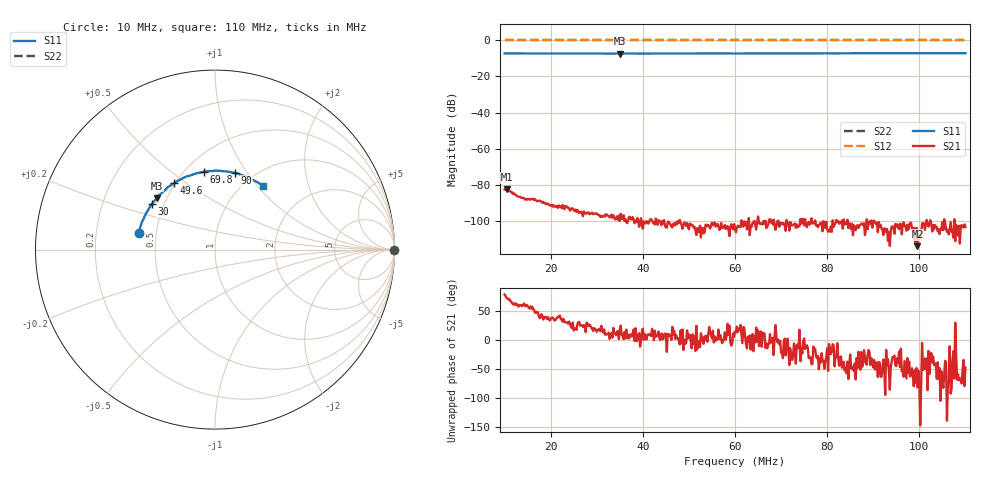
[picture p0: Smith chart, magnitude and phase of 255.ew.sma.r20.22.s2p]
! Anritsu VNA Master:  Model: MS2036C/10/77
! SN:  1601066
! /card0/usr/255.ew.sma.r20.22.s2p
! Existing Calibration Information:
! TYPE:  Current Settings,  Active Cal Settings
! TIME:  12/19/2017 06:23:16 PM,  12/19/2017 06:04:41 PM
! INTERNAL TEMP:  41.8 C,  39.8 C
! # POINTS:  501,  501
! START FREQ:  10.000 MHz,  10.000 MHz
! STOP FREQ:  110.000 MHz,  110.000 MHz
! SOURCE POWER:  High,  High
! IFBW:  100 Hz,  100 Hz
! AVG FACTOR:  1 ,  1
! REF PLANE 1:  0 mm,  0 mm
! REF PLANE 2:  0 mm,  0 mm
! CAL TYPE:  Full S11,  Full S11
! CAL METHOD:  SOLT,  SOLT
! CAL LINE TYPE:  Coax,  Coax
! DUT PORT 1:  N-Conn(F),  N-Conn(F)
! DUT PORT 2:  K-Conn(F),  K-Conn(F)
! CAL STATUS:  OK: Accuracy High,  --
# GHZ S DB R 50.0
! FREQ.GHZ  S11DB  S11A  S21DB  S21A  S12DB  S12A  S22DB  S22A
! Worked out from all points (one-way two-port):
!   501 points, 10 MHz to 110 MHz, reference 50 ohm
!   highest |S21| = -82.66 dB at 10.6 MHz (marker M1); lowest = -114.2 dB at 99.6 MHz (marker M2)
!   lowest |S11| = -7.3 dB at 35 MHz (marker M3), VSWR 2.52, Z = 22.2 + j15.7 ohm
!   |S11| at or under -10 dB: nowhere
!   |S22| runs from 0.0 to 0.0 dB; largest |S21 - S12| = 1
!   S11 on the Smith chart (normalised r, x): 10 MHz: 0.40, +0.09; 30 MHz: 0.43, +0.27; 49.6 MHz: 0.49, +0.45; 69.8 MHz: 0.61, +0.66; 90 MHz: 0.83, +0.88; 110 MHz: 1.20, +1.07
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0.01  -7.22 167.9  -82.72 78.3  0.00 0.0  0.00 0.0
0.0106  -7.21 167.2  -82.66 71.5  0.00 0.0  0.00 0.0
0.0178  -7.24 158.6  -89.17 39.9  0.00 0.0  0.00 0.0
0.0268  -7.27 147.9  -95.85 24.7  0.00 0.0  0.00 0.0
0.03  -7.24 144.5  -96.01 13.8  0.00 0.0  0.00 0.0
0.035  -7.28 138.3  -100.23 12.4  0.00 0.0  0.00 0.0
0.0374  -7.23 135.7  -99.26 9.4  0.00 0.0  0.00 0.0
0.0418  -7.28 130.4  -99.25 6.5  0.00 0.0  0.00 0.0
0.0434  -7.23 128.4  -99.65 14.3  0.00 0.0  0.00 0.0
0.0496  -7.25 121.5  -101.34 16.2  0.00 0.0  0.00 0.0
0.0552  -7.21 114.9  -102.59 15.7  0.00 0.0  0.00 0.0
0.06  -7.22 109.8  -104.33 14.2  0.00 0.0  0.00 0.0
0.065  -7.19 103.8  -97.70 16.5  0.00 0.0  0.00 0.0
0.0698  -7.16 98.3  -101.22 -1.7  0.00 0.0  0.00 0.0
0.0768  -7.15 90.3  -101.46 -42.2  0.00 0.0  0.00 0.0
0.0848  -7.12 81.4  -101.43 -43.6  0.00 0.0  0.00 0.0
0.09  -7.11 75.5  -100.58 -47.7  0.00 0.0  0.00 0.0
0.0934  -7.10 72.0  -106.54 -52.6  0.00 0.0  0.00 0.0
0.0974  -7.07 67.1  -102.29 -31.7  0.00 0.0  0.00 0.0
0.0996  -7.04 65.0  -114.20 -82.2  0.00 0.0  0.00 0.0
0.1058  -7.06 57.9  -104.43 -39.7  0.00 0.0  0.00 0.0
0.11  -7.05 53.3  -103.57 -47.7  0.00 0.0  0.00 0.0
